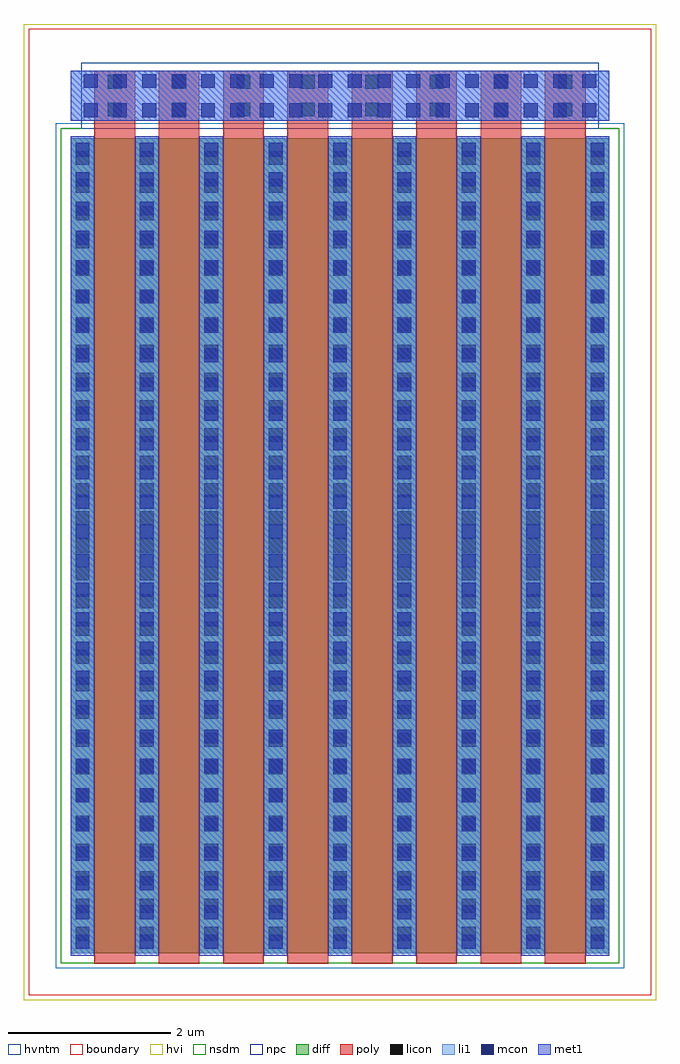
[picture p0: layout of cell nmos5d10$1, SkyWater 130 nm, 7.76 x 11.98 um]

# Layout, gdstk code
import gdstk
lib = gdstk.Library(unit=1e-6, precision=1e-09)
def R(c, l, rs):  # rectangles x0, y0, x1, y1
    for r in rs: c.add(gdstk.rectangle(r[:2], r[2:], *l))
def A(c, l, x, y, w, h, nx, ny, dx, dy):  # array of equal rectangles
    R(c, l, [(x+i*dx, y+j*dy, x+i*dx+w, y+j*dy+h) for i in range(nx) for j in range(ny)])
diff = (65, 20)
poly = (66, 20)
licon = (66, 44)
li1 = (67, 20)
mcon = (67, 44)
met1 = (68, 20)
hvi = (75, 20)
nsdm = (93, 44)
npc = (95, 20)
hvntm = (125, 20)
boundary = (235, 4)

nmos5_w10p0u_l0p5u_nf8_d = lib.new_cell('nmos5_w10p0u_l0p5u_nf8_drain_area1_gate_connection0alt1$1')
R(nmos5_w10p0u_l0p5u_nf8_d, diff, [(0,0,6.61,10)])
A(nmos5_w10p0u_l0p5u_nf8_d, poly, 0.29, -0.13, 0.5, 10.26, 8, 1, 0.79, 0)
R(nmos5_w10p0u_l0p5u_nf8_d, poly, [(0.29,10.13,0.79,10.22), (0.29,10.13,0.79,10.22), (0.29,10.13,0.79,10.22), (0.29,10.13,0.79,10.22), (1.08,10.13,1.58,10.22), (1.08,10.13,1.58,10.22), (1.08,10.13,1.58,10.22), (1.08,10.13,1.58,10.22), (1.87,10.13,2.37,10.22), (1.87,10.13,2.37,10.22), (1.87,10.13,2.37,10.22), (1.87,10.13,2.37,10.22), (2.66,10.13,3.16,10.22), (2.66,10.13,3.16,10.22), (2.66,10.13,3.16,10.22), (2.66,10.13,3.16,10.22), (3.45,10.13,3.95,10.22), (3.45,10.13,3.95,10.22), (3.45,10.13,3.95,10.22), (3.45,10.13,3.95,10.22), (4.24,10.13,4.74,10.22), (4.24,10.13,4.74,10.22), (4.24,10.13,4.74,10.22), (4.24,10.13,4.74,10.22), (5.03,10.13,5.53,10.22), (5.03,10.13,5.53,10.22), (5.03,10.13,5.53,10.22), (5.03,10.13,5.53,10.22), (5.82,10.13,6.32,10.22), (5.82,10.13,6.32,10.22), (5.82,10.13,6.32,10.22), (5.82,10.13,6.32,10.22), (0.29,10.22,0.79,10.83), (0.29,10.22,0.79,10.83), (0.29,10.22,0.79,10.83), (0.29,10.22,0.79,10.83), (1.08,10.22,1.58,10.83), (1.08,10.22,1.58,10.83), (1.08,10.22,1.58,10.83), (1.08,10.22,1.58,10.83), (1.87,10.22,2.37,10.83), (1.87,10.22,2.37,10.83), (1.87,10.22,2.37,10.83), (1.87,10.22,2.37,10.83), (2.66,10.22,3.16,10.83), (2.66,10.22,3.16,10.83), (2.66,10.22,3.16,10.83), (2.66,10.22,3.16,10.83), (3.45,10.22,3.95,10.83), (3.45,10.22,3.95,10.83), (3.45,10.22,3.95,10.83), (3.45,10.22,3.95,10.83), (4.24,10.22,4.74,10.83), (4.24,10.22,4.74,10.83), (4.24,10.22,4.74,10.83), (4.24,10.22,4.74,10.83), (5.03,10.22,5.53,10.83), (5.03,10.22,5.53,10.83), (5.03,10.22,5.53,10.83), (5.03,10.22,5.53,10.83), (5.82,10.22,6.32,10.83), (5.82,10.22,6.32,10.83), (5.82,10.22,6.32,10.83), (5.82,10.22,6.32,10.83)])
A(nmos5_w10p0u_l0p5u_nf8_d, licon, 0.06, 0.155, 0.17, 0.17, 9, 29, 0.79, 0.34)
R(nmos5_w10p0u_l0p5u_nf8_d, licon, [(0.455,10.27,0.625,10.44), (0.455,10.27,0.625,10.44), (0.455,10.27,0.625,10.44), (0.455,10.27,0.625,10.44), (1.245,10.27,1.415,10.44), (1.245,10.27,1.415,10.44), (1.245,10.27,1.415,10.44), (1.245,10.27,1.415,10.44), (2.035,10.27,2.205,10.44), (2.035,10.27,2.205,10.44), (2.035,10.27,2.205,10.44), (2.035,10.27,2.205,10.44), (2.825,10.27,2.995,10.44), (2.825,10.27,2.995,10.44), (2.825,10.27,2.995,10.44), (2.825,10.27,2.995,10.44), (3.615,10.27,3.785,10.44), (3.615,10.27,3.785,10.44), (3.615,10.27,3.785,10.44), (3.615,10.27,3.785,10.44), (4.405,10.27,4.575,10.44), (4.405,10.27,4.575,10.44), (4.405,10.27,4.575,10.44), (4.405,10.27,4.575,10.44), (5.195,10.27,5.365,10.44), (5.195,10.27,5.365,10.44), (5.195,10.27,5.365,10.44), (5.195,10.27,5.365,10.44), (5.985,10.27,6.155,10.44), (5.985,10.27,6.155,10.44), (5.985,10.27,6.155,10.44), (5.985,10.27,6.155,10.44), (0.455,10.61,0.625,10.78), (0.455,10.61,0.625,10.78), (0.455,10.61,0.625,10.78), (0.455,10.61,0.625,10.78), (1.245,10.61,1.415,10.78), (1.245,10.61,1.415,10.78), (1.245,10.61,1.415,10.78), (1.245,10.61,1.415,10.78), (2.035,10.61,2.205,10.78), (2.035,10.61,2.205,10.78), (2.035,10.61,2.205,10.78), (2.035,10.61,2.205,10.78), (2.825,10.61,2.995,10.78), (2.825,10.61,2.995,10.78), (2.825,10.61,2.995,10.78), (2.825,10.61,2.995,10.78), (3.615,10.61,3.785,10.78), (3.615,10.61,3.785,10.78), (3.615,10.61,3.785,10.78), (3.615,10.61,3.785,10.78), (4.405,10.61,4.575,10.78), (4.405,10.61,4.575,10.78), (4.405,10.61,4.575,10.78), (4.405,10.61,4.575,10.78), (5.195,10.61,5.365,10.78), (5.195,10.61,5.365,10.78), (5.195,10.61,5.365,10.78), (5.195,10.61,5.365,10.78), (5.985,10.61,6.155,10.78), (5.985,10.61,6.155,10.78), (5.985,10.61,6.155,10.78), (5.985,10.61,6.155,10.78)])
R(nmos5_w10p0u_l0p5u_nf8_d, li1, [(0,10.22,6.61,10.83)])
A(nmos5_w10p0u_l0p5u_nf8_d, mcon, 0.16, 10.26, 0.17, 0.17, 18, 2, 0.36, 0.36)
R(nmos5_w10p0u_l0p5u_nf8_d, mcon, [(0.06,0.055,0.23,0.225), (0.06,0.055,0.23,0.225), (0.85,0.055,1.02,0.225), (0.85,0.055,1.02,0.225), (1.64,0.055,1.81,0.225), (1.64,0.055,1.81,0.225), (2.43,0.055,2.6,0.225), (2.43,0.055,2.6,0.225), (3.22,0.055,3.39,0.225), (3.22,0.055,3.39,0.225), (4.01,0.055,4.18,0.225), (4.01,0.055,4.18,0.225), (4.8,0.055,4.97,0.225), (4.8,0.055,4.97,0.225), (5.59,0.055,5.76,0.225), (5.59,0.055,5.76,0.225), (6.38,0.055,6.55,0.225), (6.38,0.055,6.55,0.225), (0.06,0.415,0.23,0.585), (0.06,0.415,0.23,0.585), (0.85,0.415,1.02,0.585), (0.85,0.415,1.02,0.585), (1.64,0.415,1.81,0.585), (1.64,0.415,1.81,0.585), (2.43,0.415,2.6,0.585), (2.43,0.415,2.6,0.585), (3.22,0.415,3.39,0.585), (3.22,0.415,3.39,0.585), (4.01,0.415,4.18,0.585), (4.01,0.415,4.18,0.585), (4.8,0.415,4.97,0.585), (4.8,0.415,4.97,0.585), (5.59,0.415,5.76,0.585), (5.59,0.415,5.76,0.585), (6.38,0.415,6.55,0.585), (6.38,0.415,6.55,0.585), (0.06,0.775,0.23,0.945), (0.06,0.775,0.23,0.945), (0.85,0.775,1.02,0.945), (0.85,0.775,1.02,0.945), (1.64,0.775,1.81,0.945), (1.64,0.775,1.81,0.945), (2.43,0.775,2.6,0.945), (2.43,0.775,2.6,0.945), (3.22,0.775,3.39,0.945), (3.22,0.775,3.39,0.945), (4.01,0.775,4.18,0.945), (4.01,0.775,4.18,0.945), (4.8,0.775,4.97,0.945), (4.8,0.775,4.97,0.945), (5.59,0.775,5.76,0.945), (5.59,0.775,5.76,0.945), (6.38,0.775,6.55,0.945), (6.38,0.775,6.55,0.945), (0.06,1.135,0.23,1.305), (0.06,1.135,0.23,1.305), (0.85,1.135,1.02,1.305), (0.85,1.135,1.02,1.305), (1.64,1.135,1.81,1.305), (1.64,1.135,1.81,1.305), (2.43,1.135,2.6,1.305), (2.43,1.135,2.6,1.305), (3.22,1.135,3.39,1.305), (3.22,1.135,3.39,1.305), (4.01,1.135,4.18,1.305), (4.01,1.135,4.18,1.305), (4.8,1.135,4.97,1.305), (4.8,1.135,4.97,1.305), (5.59,1.135,5.76,1.305), (5.59,1.135,5.76,1.305), (6.38,1.135,6.55,1.305), (6.38,1.135,6.55,1.305), (0.06,1.495,0.23,1.665), (0.06,1.495,0.23,1.665), (0.85,1.495,1.02,1.665), (0.85,1.495,1.02,1.665), (1.64,1.495,1.81,1.665), (1.64,1.495,1.81,1.665), (2.43,1.495,2.6,1.665), (2.43,1.495,2.6,1.665), (3.22,1.495,3.39,1.665), (3.22,1.495,3.39,1.665), (4.01,1.495,4.18,1.665), (4.01,1.495,4.18,1.665), (4.8,1.495,4.97,1.665), (4.8,1.495,4.97,1.665), (5.59,1.495,5.76,1.665), (5.59,1.495,5.76,1.665), (6.38,1.495,6.55,1.665), (6.38,1.495,6.55,1.665), (0.06,1.855,0.23,2.025), (0.06,1.855,0.23,2.025), (0.85,1.855,1.02,2.025), (0.85,1.855,1.02,2.025), (1.64,1.855,1.81,2.025), (1.64,1.855,1.81,2.025), (2.43,1.855,2.6,2.025), (2.43,1.855,2.6,2.025), (3.22,1.855,3.39,2.025), (3.22,1.855,3.39,2.025), (4.01,1.855,4.18,2.025), (4.01,1.855,4.18,2.025), (4.8,1.855,4.97,2.025), (4.8,1.855,4.97,2.025), (5.59,1.855,5.76,2.025), (5.59,1.855,5.76,2.025), (6.38,1.855,6.55,2.025), (6.38,1.855,6.55,2.025), (0.06,2.215,0.23,2.385), (0.06,2.215,0.23,2.385), (0.85,2.215,1.02,2.385), (0.85,2.215,1.02,2.385), (1.64,2.215,1.81,2.385), (1.64,2.215,1.81,2.385), (2.43,2.215,2.6,2.385), (2.43,2.215,2.6,2.385), (3.22,2.215,3.39,2.385), (3.22,2.215,3.39,2.385), (4.01,2.215,4.18,2.385), (4.01,2.215,4.18,2.385), (4.8,2.215,4.97,2.385), (4.8,2.215,4.97,2.385), (5.59,2.215,5.76,2.385), (5.59,2.215,5.76,2.385), (6.38,2.215,6.55,2.385), (6.38,2.215,6.55,2.385), (0.06,2.575,0.23,2.745), (0.06,2.575,0.23,2.745), (0.85,2.575,1.02,2.745), (0.85,2.575,1.02,2.745), (1.64,2.575,1.81,2.745), (1.64,2.575,1.81,2.745), (2.43,2.575,2.6,2.745), (2.43,2.575,2.6,2.745), (3.22,2.575,3.39,2.745), (3.22,2.575,3.39,2.745), (4.01,2.575,4.18,2.745), (4.01,2.575,4.18,2.745), (4.8,2.575,4.97,2.745), (4.8,2.575,4.97,2.745), (5.59,2.575,5.76,2.745), (5.59,2.575,5.76,2.745), (6.38,2.575,6.55,2.745), (6.38,2.575,6.55,2.745), (0.06,2.935,0.23,3.105), (0.06,2.935,0.23,3.105), (0.85,2.935,1.02,3.105), (0.85,2.935,1.02,3.105), (1.64,2.935,1.81,3.105), (1.64,2.935,1.81,3.105), (2.43,2.935,2.6,3.105), (2.43,2.935,2.6,3.105), (3.22,2.935,3.39,3.105), (3.22,2.935,3.39,3.105), (4.01,2.935,4.18,3.105), (4.01,2.935,4.18,3.105), (4.8,2.935,4.97,3.105), (4.8,2.935,4.97,3.105), (5.59,2.935,5.76,3.105), (5.59,2.935,5.76,3.105), (6.38,2.935,6.55,3.105), (6.38,2.935,6.55,3.105), (0.06,3.295,0.23,3.465), (0.06,3.295,0.23,3.465), (0.85,3.295,1.02,3.465), (0.85,3.295,1.02,3.465), (1.64,3.295,1.81,3.465), (1.64,3.295,1.81,3.465), (2.43,3.295,2.6,3.465), (2.43,3.295,2.6,3.465), (3.22,3.295,3.39,3.465), (3.22,3.295,3.39,3.465), (4.01,3.295,4.18,3.465), (4.01,3.295,4.18,3.465), (4.8,3.295,4.97,3.465), (4.8,3.295,4.97,3.465), (5.59,3.295,5.76,3.465), (5.59,3.295,5.76,3.465), (6.38,3.295,6.55,3.465), (6.38,3.295,6.55,3.465), (0.06,3.655,0.23,3.825), (0.06,3.655,0.23,3.825), (0.85,3.655,1.02,3.825), (0.85,3.655,1.02,3.825), (1.64,3.655,1.81,3.825), (1.64,3.655,1.81,3.825), (2.43,3.655,2.6,3.825), (2.43,3.655,2.6,3.825), (3.22,3.655,3.39,3.825), (3.22,3.655,3.39,3.825), (4.01,3.655,4.18,3.825), (4.01,3.655,4.18,3.825), (4.8,3.655,4.97,3.825), (4.8,3.655,4.97,3.825), (5.59,3.655,5.76,3.825), (5.59,3.655,5.76,3.825), (6.38,3.655,6.55,3.825), (6.38,3.655,6.55,3.825), (0.06,4.015,0.23,4.185), (0.06,4.015,0.23,4.185), (0.85,4.015,1.02,4.185), (0.85,4.015,1.02,4.185), (1.64,4.015,1.81,4.185), (1.64,4.015,1.81,4.185), (2.43,4.015,2.6,4.185), (2.43,4.015,2.6,4.185), (3.22,4.015,3.39,4.185), (3.22,4.015,3.39,4.185), (4.01,4.015,4.18,4.185), (4.01,4.015,4.18,4.185), (4.8,4.015,4.97,4.185), (4.8,4.015,4.97,4.185), (5.59,4.015,5.76,4.185), (5.59,4.015,5.76,4.185), (6.38,4.015,6.55,4.185), (6.38,4.015,6.55,4.185), (0.06,4.375,0.23,4.545), (0.06,4.375,0.23,4.545), (0.85,4.375,1.02,4.545), (0.85,4.375,1.02,4.545), (1.64,4.375,1.81,4.545), (1.64,4.375,1.81,4.545), (2.43,4.375,2.6,4.545), (2.43,4.375,2.6,4.545), (3.22,4.375,3.39,4.545), (3.22,4.375,3.39,4.545), (4.01,4.375,4.18,4.545), (4.01,4.375,4.18,4.545), (4.8,4.375,4.97,4.545), (4.8,4.375,4.97,4.545), (5.59,4.375,5.76,4.545), (5.59,4.375,5.76,4.545), (6.38,4.375,6.55,4.545), (6.38,4.375,6.55,4.545), (0.06,4.735,0.23,4.905), (0.06,4.735,0.23,4.905), (0.85,4.735,1.02,4.905), (0.85,4.735,1.02,4.905), (1.64,4.735,1.81,4.905), (1.64,4.735,1.81,4.905), (2.43,4.735,2.6,4.905), (2.43,4.735,2.6,4.905), (3.22,4.735,3.39,4.905), (3.22,4.735,3.39,4.905), (4.01,4.735,4.18,4.905), (4.01,4.735,4.18,4.905), (4.8,4.735,4.97,4.905), (4.8,4.735,4.97,4.905), (5.59,4.735,5.76,4.905), (5.59,4.735,5.76,4.905), (6.38,4.735,6.55,4.905), (6.38,4.735,6.55,4.905), (0.06,5.095,0.23,5.265), (0.06,5.095,0.23,5.265), (0.85,5.095,1.02,5.265), (0.85,5.095,1.02,5.265), (1.64,5.095,1.81,5.265), (1.64,5.095,1.81,5.265), (2.43,5.095,2.6,5.265), (2.43,5.095,2.6,5.265), (3.22,5.095,3.39,5.265), (3.22,5.095,3.39,5.265), (4.01,5.095,4.18,5.265), (4.01,5.095,4.18,5.265), (4.8,5.095,4.97,5.265), (4.8,5.095,4.97,5.265), (5.59,5.095,5.76,5.265), (5.59,5.095,5.76,5.265), (6.38,5.095,6.55,5.265), (6.38,5.095,6.55,5.265), (0.06,5.455,0.23,5.625), (0.06,5.455,0.23,5.625), (0.85,5.455,1.02,5.625), (0.85,5.455,1.02,5.625), (1.64,5.455,1.81,5.625), (1.64,5.455,1.81,5.625), (2.43,5.455,2.6,5.625), (2.43,5.455,2.6,5.625), (3.22,5.455,3.39,5.625), (3.22,5.455,3.39,5.625), (4.01,5.455,4.18,5.625), (4.01,5.455,4.18,5.625), (4.8,5.455,4.97,5.625), (4.8,5.455,4.97,5.625), (5.59,5.455,5.76,5.625), (5.59,5.455,5.76,5.625), (6.38,5.455,6.55,5.625), (6.38,5.455,6.55,5.625), (0.06,5.815,0.23,5.985), (0.06,5.815,0.23,5.985), (0.85,5.815,1.02,5.985), (0.85,5.815,1.02,5.985), (1.64,5.815,1.81,5.985), (1.64,5.815,1.81,5.985), (2.43,5.815,2.6,5.985), (2.43,5.815,2.6,5.985), (3.22,5.815,3.39,5.985), (3.22,5.815,3.39,5.985), (4.01,5.815,4.18,5.985), (4.01,5.815,4.18,5.985), (4.8,5.815,4.97,5.985), (4.8,5.815,4.97,5.985), (5.59,5.815,5.76,5.985), (5.59,5.815,5.76,5.985), (6.38,5.815,6.55,5.985), (6.38,5.815,6.55,5.985), (0.06,6.175,0.23,6.345), (0.06,6.175,0.23,6.345), (0.85,6.175,1.02,6.345), (0.85,6.175,1.02,6.345), (1.64,6.175,1.81,6.345), (1.64,6.175,1.81,6.345), (2.43,6.175,2.6,6.345), (2.43,6.175,2.6,6.345), (3.22,6.175,3.39,6.345), (3.22,6.175,3.39,6.345), (4.01,6.175,4.18,6.345), (4.01,6.175,4.18,6.345), (4.8,6.175,4.97,6.345), (4.8,6.175,4.97,6.345), (5.59,6.175,5.76,6.345), (5.59,6.175,5.76,6.345), (6.38,6.175,6.55,6.345), (6.38,6.175,6.55,6.345), (0.06,6.535,0.23,6.705), (0.06,6.535,0.23,6.705), (0.85,6.535,1.02,6.705), (0.85,6.535,1.02,6.705), (1.64,6.535,1.81,6.705), (1.64,6.535,1.81,6.705), (2.43,6.535,2.6,6.705), (2.43,6.535,2.6,6.705), (3.22,6.535,3.39,6.705), (3.22,6.535,3.39,6.705), (4.01,6.535,4.18,6.705), (4.01,6.535,4.18,6.705), (4.8,6.535,4.97,6.705), (4.8,6.535,4.97,6.705), (5.59,6.535,5.76,6.705), (5.59,6.535,5.76,6.705), (6.38,6.535,6.55,6.705), (6.38,6.535,6.55,6.705), (0.06,6.895,0.23,7.065), (0.06,6.895,0.23,7.065), (0.85,6.895,1.02,7.065), (0.85,6.895,1.02,7.065), (1.64,6.895,1.81,7.065), (1.64,6.895,1.81,7.065), (2.43,6.895,2.6,7.065), (2.43,6.895,2.6,7.065), (3.22,6.895,3.39,7.065), (3.22,6.895,3.39,7.065), (4.01,6.895,4.18,7.065), (4.01,6.895,4.18,7.065), (4.8,6.895,4.97,7.065), (4.8,6.895,4.97,7.065), (5.59,6.895,5.76,7.065), (5.59,6.895,5.76,7.065), (6.38,6.895,6.55,7.065), (6.38,6.895,6.55,7.065), (0.06,7.255,0.23,7.425), (0.06,7.255,0.23,7.425), (0.85,7.255,1.02,7.425), (0.85,7.255,1.02,7.425), (1.64,7.255,1.81,7.425), (1.64,7.255,1.81,7.425), (2.43,7.255,2.6,7.425), (2.43,7.255,2.6,7.425), (3.22,7.255,3.39,7.425), (3.22,7.255,3.39,7.425), (4.01,7.255,4.18,7.425), (4.01,7.255,4.18,7.425), (4.8,7.255,4.97,7.425), (4.8,7.255,4.97,7.425), (5.59,7.255,5.76,7.425), (5.59,7.255,5.76,7.425), (6.38,7.255,6.55,7.425), (6.38,7.255,6.55,7.425), (0.06,7.615,0.23,7.785), (0.06,7.615,0.23,7.785), (0.85,7.615,1.02,7.785), (0.85,7.615,1.02,7.785), (1.64,7.615,1.81,7.785), (1.64,7.615,1.81,7.785), (2.43,7.615,2.6,7.785), (2.43,7.615,2.6,7.785), (3.22,7.615,3.39,7.785), (3.22,7.615,3.39,7.785), (4.01,7.615,4.18,7.785), (4.01,7.615,4.18,7.785), (4.8,7.615,4.97,7.785), (4.8,7.615,4.97,7.785), (5.59,7.615,5.76,7.785), (5.59,7.615,5.76,7.785), (6.38,7.615,6.55,7.785), (6.38,7.615,6.55,7.785), (0.06,7.975,0.23,8.145), (0.06,7.975,0.23,8.145), (0.85,7.975,1.02,8.145), (0.85,7.975,1.02,8.145), (1.64,7.975,1.81,8.145), (1.64,7.975,1.81,8.145), (2.43,7.975,2.6,8.145), (2.43,7.975,2.6,8.145), (3.22,7.975,3.39,8.145), (3.22,7.975,3.39,8.145), (4.01,7.975,4.18,8.145), (4.01,7.975,4.18,8.145), (4.8,7.975,4.97,8.145), (4.8,7.975,4.97,8.145), (5.59,7.975,5.76,8.145), (5.59,7.975,5.76,8.145), (6.38,7.975,6.55,8.145), (6.38,7.975,6.55,8.145), (0.06,8.335,0.23,8.505), (0.06,8.335,0.23,8.505), (0.85,8.335,1.02,8.505), (0.85,8.335,1.02,8.505), (1.64,8.335,1.81,8.505), (1.64,8.335,1.81,8.505), (2.43,8.335,2.6,8.505), (2.43,8.335,2.6,8.505), (3.22,8.335,3.39,8.505), (3.22,8.335,3.39,8.505), (4.01,8.335,4.18,8.505), (4.01,8.335,4.18,8.505), (4.8,8.335,4.97,8.505), (4.8,8.335,4.97,8.505), (5.59,8.335,5.76,8.505), (5.59,8.335,5.76,8.505), (6.38,8.335,6.55,8.505), (6.38,8.335,6.55,8.505), (0.06,8.695,0.23,8.865), (0.06,8.695,0.23,8.865), (0.85,8.695,1.02,8.865), (0.85,8.695,1.02,8.865), (1.64,8.695,1.81,8.865), (1.64,8.695,1.81,8.865), (2.43,8.695,2.6,8.865), (2.43,8.695,2.6,8.865), (3.22,8.695,3.39,8.865), (3.22,8.695,3.39,8.865), (4.01,8.695,4.18,8.865), (4.01,8.695,4.18,8.865), (4.8,8.695,4.97,8.865), (4.8,8.695,4.97,8.865), (5.59,8.695,5.76,8.865), (5.59,8.695,5.76,8.865), (6.38,8.695,6.55,8.865), (6.38,8.695,6.55,8.865), (0.06,9.055,0.23,9.225), (0.06,9.055,0.23,9.225), (0.85,9.055,1.02,9.225), (0.85,9.055,1.02,9.225), (1.64,9.055,1.81,9.225), (1.64,9.055,1.81,9.225), (2.43,9.055,2.6,9.225), (2.43,9.055,2.6,9.225), (3.22,9.055,3.39,9.225), (3.22,9.055,3.39,9.225), (4.01,9.055,4.18,9.225), (4.01,9.055,4.18,9.225), (4.8,9.055,4.97,9.225), (4.8,9.055,4.97,9.225), (5.59,9.055,5.76,9.225), (5.59,9.055,5.76,9.225), (6.38,9.055,6.55,9.225), (6.38,9.055,6.55,9.225), (0.06,9.415,0.23,9.585), (0.06,9.415,0.23,9.585), (0.85,9.415,1.02,9.585), (0.85,9.415,1.02,9.585), (1.64,9.415,1.81,9.585), (1.64,9.415,1.81,9.585), (2.43,9.415,2.6,9.585), (2.43,9.415,2.6,9.585), (3.22,9.415,3.39,9.585), (3.22,9.415,3.39,9.585), (4.01,9.415,4.18,9.585), (4.01,9.415,4.18,9.585), (4.8,9.415,4.97,9.585), (4.8,9.415,4.97,9.585), (5.59,9.415,5.76,9.585), (5.59,9.415,5.76,9.585), (6.38,9.415,6.55,9.585), (6.38,9.415,6.55,9.585), (0.06,9.775,0.23,9.945), (0.06,9.775,0.23,9.945), (0.85,9.775,1.02,9.945), (0.85,9.775,1.02,9.945), (1.64,9.775,1.81,9.945), (1.64,9.775,1.81,9.945), (2.43,9.775,2.6,9.945), (2.43,9.775,2.6,9.945), (3.22,9.775,3.39,9.945), (3.22,9.775,3.39,9.945), (4.01,9.775,4.18,9.945), (4.01,9.775,4.18,9.945), (4.8,9.775,4.97,9.945), (4.8,9.775,4.97,9.945), (5.59,9.775,5.76,9.945), (5.59,9.775,5.76,9.945), (6.38,9.775,6.55,9.945), (6.38,9.775,6.55,9.945)])
R(nmos5_w10p0u_l0p5u_nf8_d, met1, [(0,10.22,6.61,10.83)])
R(nmos5_w10p0u_l0p5u_nf8_d, hvi, [(-0.575,-0.575,7.185,11.405)])
R(nmos5_w10p0u_l0p5u_nf8_d, nsdm, [(-0.125,-0.125,6.735,10.125)])
R(nmos5_w10p0u_l0p5u_nf8_d, npc, [(0.13,10.12,0.95,10.93), (0.13,10.12,0.95,10.93), (0.13,10.12,0.95,10.93), (0.13,10.12,0.95,10.93), (0.92,10.12,1.74,10.93), (0.92,10.12,1.74,10.93), (0.92,10.12,1.74,10.93), (0.92,10.12,1.74,10.93), (1.71,10.12,2.53,10.93), (1.71,10.12,2.53,10.93), (1.71,10.12,2.53,10.93), (1.71,10.12,2.53,10.93), (2.5,10.12,3.32,10.93), (2.5,10.12,3.32,10.93), (2.5,10.12,3.32,10.93), (2.5,10.12,3.32,10.93), (3.29,10.12,4.11,10.93), (3.29,10.12,4.11,10.93), (3.29,10.12,4.11,10.93), (3.29,10.12,4.11,10.93), (4.08,10.12,4.9,10.93), (4.08,10.12,4.9,10.93), (4.08,10.12,4.9,10.93), (4.08,10.12,4.9,10.93), (4.87,10.12,5.69,10.93), (4.87,10.12,5.69,10.93), (4.87,10.12,5.69,10.93), (4.87,10.12,5.69,10.93), (5.66,10.12,6.48,10.93), (5.66,10.12,6.48,10.93), (5.66,10.12,6.48,10.93), (5.66,10.12,6.48,10.93)])
R(nmos5_w10p0u_l0p5u_nf8_d, hvntm, [(-0.185,-0.185,6.795,10.185)])
R(nmos5_w10p0u_l0p5u_nf8_d, boundary, [(-0.515,-0.515,7.125,11.345)])
nmos5_w10p0u_l0p5u_nf8_d.add(gdstk.FlexPath([(0.145,0),(0.145,10)], 0.29, ends="flush", simple_path=True, layer=67, datatype=20))  # li1
nmos5_w10p0u_l0p5u_nf8_d.add(gdstk.FlexPath([(0.935,0),(0.935,10)], 0.29, ends="flush", simple_path=True, layer=67, datatype=20))  # li1
nmos5_w10p0u_l0p5u_nf8_d.add(gdstk.FlexPath([(1.725,0),(1.725,10)], 0.29, ends="flush", simple_path=True, layer=67, datatype=20))  # li1
nmos5_w10p0u_l0p5u_nf8_d.add(gdstk.FlexPath([(2.515,0),(2.515,10)], 0.29, ends="flush", simple_path=True, layer=67, datatype=20))  # li1
nmos5_w10p0u_l0p5u_nf8_d.add(gdstk.FlexPath([(3.305,0),(3.305,10)], 0.29, ends="flush", simple_path=True, layer=67, datatype=20))  # li1
nmos5_w10p0u_l0p5u_nf8_d.add(gdstk.FlexPath([(4.095,0),(4.095,10)], 0.29, ends="flush", simple_path=True, layer=67, datatype=20))  # li1
nmos5_w10p0u_l0p5u_nf8_d.add(gdstk.FlexPath([(4.885,0),(4.885,10)], 0.29, ends="flush", simple_path=True, layer=67, datatype=20))  # li1
nmos5_w10p0u_l0p5u_nf8_d.add(gdstk.FlexPath([(5.675,0),(5.675,10)], 0.29, ends="flush", simple_path=True, layer=67, datatype=20))  # li1
nmos5_w10p0u_l0p5u_nf8_d.add(gdstk.FlexPath([(6.465,0),(6.465,10)], 0.29, ends="flush", simple_path=True, layer=67, datatype=20))  # li1
nmos5_w10p0u_l0p5u_nf8_d.add(gdstk.FlexPath([(0.145,-0.03),(0.145,10.03)], 0.29, ends="flush", simple_path=True, layer=68, datatype=20))  # met1
nmos5_w10p0u_l0p5u_nf8_d.add(gdstk.FlexPath([(0.935,-0.03),(0.935,10.03)], 0.29, ends="flush", simple_path=True, layer=68, datatype=20))  # met1
nmos5_w10p0u_l0p5u_nf8_d.add(gdstk.FlexPath([(1.725,-0.03),(1.725,10.03)], 0.29, ends="flush", simple_path=True, layer=68, datatype=20))  # met1
nmos5_w10p0u_l0p5u_nf8_d.add(gdstk.FlexPath([(2.515,-0.03),(2.515,10.03)], 0.29, ends="flush", simple_path=True, layer=68, datatype=20))  # met1
nmos5_w10p0u_l0p5u_nf8_d.add(gdstk.FlexPath([(3.305,-0.03),(3.305,10.03)], 0.29, ends="flush", simple_path=True, layer=68, datatype=20))  # met1
nmos5_w10p0u_l0p5u_nf8_d.add(gdstk.FlexPath([(4.095,-0.03),(4.095,10.03)], 0.29, ends="flush", simple_path=True, layer=68, datatype=20))  # met1
nmos5_w10p0u_l0p5u_nf8_d.add(gdstk.FlexPath([(4.885,-0.03),(4.885,10.03)], 0.29, ends="flush", simple_path=True, layer=68, datatype=20))  # met1
nmos5_w10p0u_l0p5u_nf8_d.add(gdstk.FlexPath([(5.675,-0.03),(5.675,10.03)], 0.29, ends="flush", simple_path=True, layer=68, datatype=20))  # met1
nmos5_w10p0u_l0p5u_nf8_d.add(gdstk.FlexPath([(6.465,-0.03),(6.465,10.03)], 0.29, ends="flush", simple_path=True, layer=68, datatype=20))  # met1

nmos5d10_1 = lib.new_cell('nmos5d10$1')
r = gdstk.Reference(nmos5_w10p0u_l0p5u_nf8_d, (0,0)); r.repetition = gdstk.Repetition(1, 1, v1=(0,0), v2=(0,0)); nmos5d10_1.add(r)

lib.write_gds('nmos5d10_1.gds')
